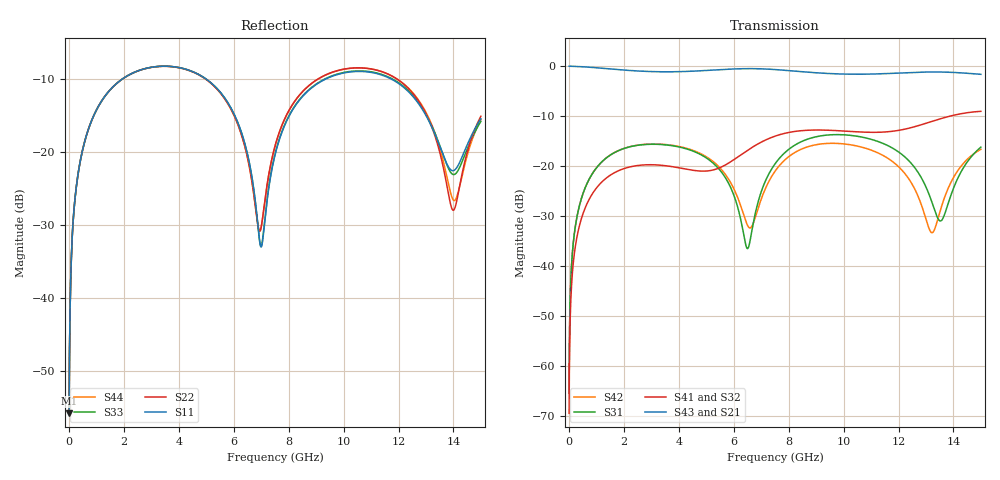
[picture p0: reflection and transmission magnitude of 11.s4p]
! Created with skrf 1.8.0 (http://scikit-rf.org).
# GHz S RI R 50.0
!freq ReS11 ImS11 ReS12 ImS12 ReS13 ImS13
! ReS14 ImS14
! ReS21 ImS21 ReS22 ImS22 ReS23 ImS23
! ReS24 ImS24
! ReS31 ImS31 ReS32 ImS32 ReS33 ImS33
! ReS34 ImS34
! ReS41 ImS41 ReS42 ImS42 ReS43 ImS43
! ReS44 ImS44
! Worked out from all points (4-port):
!   2499 points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, 5 MHz to 15 GHz, reference 50 ohm
!   strongest paths, dB at 5 MHz, 3.476 GHz, 7.19 GHz, 11.1 GHz, 15 GHz:
!     S43: 0.0, -1.1, -0.6, -1.6, -1.6
!     S21: 0.0, -1.1, -0.6, -1.6, -1.7
!     S41: -69.5, -19.9, -14.7, -13.2, -9.0
!     S32: -69.5, -20.0, -14.7, -13.4, -9.1
!     S31: -65.4, -15.7, -22.5, -14.8, -16.2
!     S42: -65.4, -15.7, -24.1, -17.0, -16.6
!   lowest |S11| = -55.8 dB at 5 MHz (marker M1), VSWR 1.00, Z = 50.1 + j0.0978 ohm
!   |S11| at or under -10 dB: start of sweep to 1.919 GHz; 5.017 GHz to 9.316 GHz (4.299 GHz wide, 60 % of centre); 11.77 GHz to end of sweep
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0.005  0.00129 0.000975  0.9987 -0.00251  6.45e-05 0.000535  -6.26e-05 -0.000331
       0.9987 -0.00251  0.00129 0.000975  -6.26e-05 -0.000331  6.46e-05 0.000535
       6.45e-05 0.000535  -6.26e-05 -0.000331  0.00129 0.000976  0.9987 -0.00251
       -6.26e-05 -0.000331  6.46e-05 0.000535  0.9987 -0.00251  0.00129 0.000976
0.4126719  0.0244 0.0839  0.9662 -0.205  0.012 0.0417  -0.00997 -0.0255
           0.9662 -0.205  0.0244 0.0839  -0.00996 -0.0255  0.0121 0.0417
           0.012 0.0417  -0.00996 -0.0255  0.0244 0.0839  0.9662 -0.2049
           -0.00997 -0.0255  0.0121 0.0417  0.9662 -0.2049  0.0244 0.0839
1.975823  0.2681 0.1778  0.551 -0.7294  0.1335 0.0664  -0.0937 -0.00601
          0.551 -0.7294  0.2679 0.1778  -0.0935 -0.00624  0.1347 0.0647
          0.1335 0.0664  -0.0935 -0.00624  0.2682 0.1778  0.551 -0.7294
          -0.0937 -0.00601  0.1347 0.0647  0.551 -0.7294  0.2678 0.1779
6.971655  0.0222 -0.0055  -0.9376 -0.0665  0.0282 0.0441  -0.00534 0.1718
          -0.9376 -0.0665  0.029 0.00336  -0.00927 0.1716  -0.0176 0.0406
          0.0282 0.0441  -0.00927 0.1716  0.0225 -0.00458  -0.9376 -0.0664
          -0.00534 0.1718  -0.0176 0.0406  -0.9376 -0.0664  0.0289 0.004
11.07962  0.3479 -0.0506  0.0869 0.8297  0.1267 -0.1317  0.1994 -0.0872
          0.0869 0.8297  0.3612 -0.0865  0.2 -0.0779  0.1258 -0.0657
          0.1267 -0.1317  0.2 -0.0779  0.3505 -0.056  0.086 0.8292
          0.1994 -0.0872  0.1258 -0.0657  0.086 0.8292  0.3621 -0.0817
13.21801  0.1111 -0.0984  0.7582 0.4359  -0.0318 -0.0295  0.1266 -0.2497
          0.7582 0.4359  0.0818 -0.1235  0.1391 -0.2429  -0.0209 -0.00508
          -0.0318 -0.0295  0.1391 -0.2429  0.1081 -0.1057  0.7564 0.438
          0.1266 -0.2497  -0.0209 -0.00508  0.7564 0.438  0.0897 -0.1245
15  0.1349 0.1034  0.7875 -0.2505  0.1289 0.0857  -0.1467 -0.3211
    0.7875 -0.2505  0.1191 0.1309  -0.1313 -0.3268  0.0887 0.1174
    0.1289 0.0857  -0.1313 -0.3268  0.1298 0.0987  0.7903 -0.247
    -0.1467 -0.3211  0.0887 0.1174  0.7903 -0.247  0.1179 0.1199
